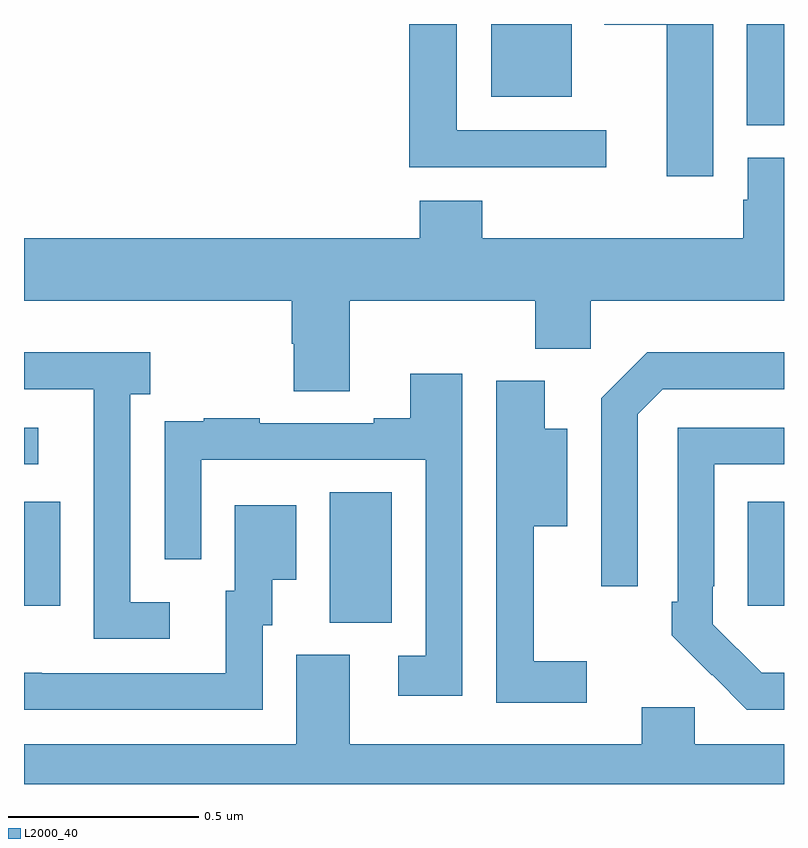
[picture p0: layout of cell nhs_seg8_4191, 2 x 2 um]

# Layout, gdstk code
import gdstk
lib = gdstk.Library(unit=1e-6, precision=1e-09)
def R(c, l, rs):  # rectangles x0, y0, x1, y1
    for r in rs: c.add(gdstk.rectangle(r[:2], r[2:], *l))
def P(c, l, *ps):  # polygons
    for p in ps: c.add(gdstk.Polygon(p, *l))
L2000_40 = (2000, 40)

nhs_seg8_4191 = lib.new_cell('nhs_seg8_4191')
R(nhs_seg8_4191, L2000_40, [(167.804,1110.325,167.968,1110.668), (167,1110.369,167.095,1110.643), (168.905,1110.369,169,1110.643), (167,1110.741,167.038,1110.837), (168.902,1111.633,169,1111.9), (168.23,1111.709,168.442,1111.9)])
P(nhs_seg8_4191, L2000_40, [(168.532,1111.62),(168.139,1111.62),(168.139,1111.9),(168.014,1111.9),(168.014,1111.523),(168.532,1111.523)],
  [(168.814,1111.9),(168.527,1111.9),(168.527,1111.898),(168.692,1111.898),(168.692,1111.5),(168.814,1111.5)],
  [(167.857,1111.172),(168.346,1111.172),(168.346,1111.046),(168.492,1111.046),(168.492,1111.172),(169,1111.172),(169,1111.548),(168.905,1111.548),(168.905,1111.437),(168.893,1111.437),(168.893,1111.336),(168.206,1111.336),(168.206,1111.435),(168.041,1111.435),(168.041,1111.336),(167,1111.336),(167,1111.172),(167.705,1111.172),(167.705,1111.059),(167.71,1111.059),(167.71,1110.934),(167.857,1110.934)],
  [(167.383,1110.378),(167.28,1110.378),(167.28,1110.926),(167.332,1110.926),(167.332,1111.036),(167,1111.036),(167,1110.939),(167.183,1110.939),(167.183,1110.739),(167.184,1110.739),(167.184,1110.282),(167.383,1110.282)],
  [(168.615,1110.873),(168.681,1110.939),(169,1110.939),(169,1111.036),(168.64,1111.036),(168.519,1110.915),(168.519,1110.42),(168.615,1110.42)],
  [(168.153,1110.979),(168.017,1110.979),(168.017,1110.862),(167.921,1110.862),(167.921,1110.849),(167.621,1110.849),(167.621,1110.862),(167.473,1110.862),(167.473,1110.855),(167.371,1110.855),(167.371,1110.746),(167.37,1110.746),(167.37,1110.492),(167.466,1110.492),(167.466,1110.753),(168.057,1110.753),(168.057,1110.237),(167.985,1110.237),(167.985,1110.132),(168.153,1110.132)],
  [(168.481,1110.223),(168.341,1110.223),(168.341,1110.578),(168.43,1110.578),(168.43,1110.835),(168.37,1110.835),(168.37,1110.961),(168.243,1110.961),(168.243,1110.114),(168.481,1110.114)],
  [(169,1110.193),(168.942,1110.193),(168.813,1110.321),(168.813,1110.421),(168.816,1110.421),(168.816,1110.741),(169,1110.741),(169,1110.837),(168.72,1110.837),(168.72,1110.379),(168.705,1110.379),(168.705,1110.291),(168.81,1110.186),(168.811,1110.187),(168.902,1110.096),(169,1110.096)],
  [(167.628,1110.318),(167.653,1110.318),(167.653,1110.437),(167.716,1110.437),(167.716,1110.634),(167.555,1110.634),(167.555,1110.408),(167.531,1110.408),(167.531,1110.192),(167.047,1110.192),(167.047,1110.193),(167,1110.193),(167,1110.096),(167.628,1110.096)],
  [(169,1110.004),(168.765,1110.004),(168.765,1110.102),(168.626,1110.102),(168.626,1110.004),(167.857,1110.004),(167.857,1110.24),(167.717,1110.24),(167.717,1110.004),(167,1110.004),(167,1109.9),(169,1109.9)])

lib.write_gds('nhs_seg8_4191.gds')
